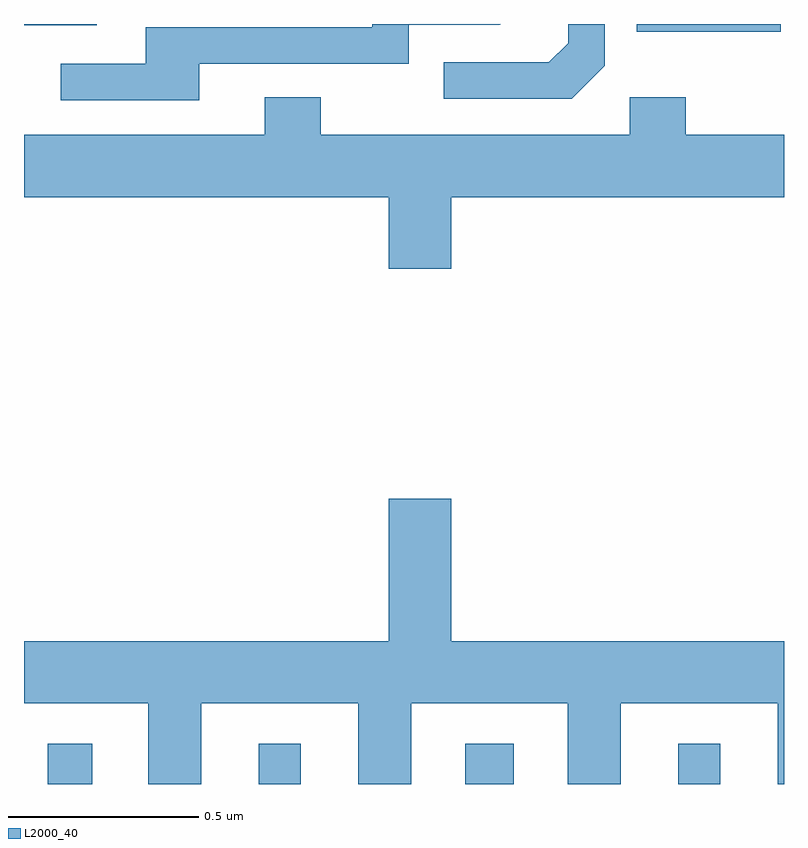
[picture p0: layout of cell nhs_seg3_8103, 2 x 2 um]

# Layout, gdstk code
import gdstk
lib = gdstk.Library(unit=1e-6, precision=1e-09)
def R(c, l, rs):  # rectangles x0, y0, x1, y1
    for r in rs: c.add(gdstk.rectangle(r[:2], r[2:], *l))
def P(c, l, *ps):  # polygons
    for p in ps: c.add(gdstk.Polygon(p, *l))
L2000_40 = (2000, 40)

nhs_seg3_8103 = lib.new_cell('nhs_seg3_8103')
R(nhs_seg3_8103, L2000_40, [(212.063,671.4,212.179,671.506), (212.618,671.4,212.728,671.506), (213.161,671.4,213.289,671.506), (213.722,671.4,213.832,671.506), (213.613,673.379,213.991,673.4), (212,673.397,212.191,673.4)])
P(nhs_seg3_8103, L2000_40, [(212.461,673.296),(213.012,673.296),(213.012,673.398),(213.252,673.398),(213.254,673.4),(212.916,673.4),(212.916,673.392),(212.321,673.392),(212.321,673.296),(212.097,673.296),(212.097,673.2),(212.461,673.2)],
  [(213.528,673.29),(213.528,673.4),(213.432,673.4),(213.432,673.35),(213.381,673.299),(213.105,673.299),(213.105,673.203),(213.441,673.203)],
  [(213.124,672.944),(214,672.944),(214,673.108),(213.741,673.108),(213.741,673.207),(213.594,673.207),(213.594,673.108),(212.781,673.108),(212.781,673.207),(212.633,673.207),(212.633,673.108),(212,673.108),(212,672.944),(212.96,672.944),(212.96,672.756),(213.124,672.756)],
  [(212.467,671.612),(212.879,671.612),(212.879,671.4),(213.019,671.4),(213.019,671.612),(213.431,671.612),(213.431,671.4),(213.571,671.4),(213.571,671.612),(213.983,671.612),(213.983,671.4),(214,671.4),(214,671.776),(213.124,671.776),(213.124,672.151),(212.96,672.151),(212.96,671.776),(212,671.776),(212,671.612),(212.327,671.612),(212.327,671.4),(212.467,671.4)])

lib.write_gds('nhs_seg3_8103.gds')
